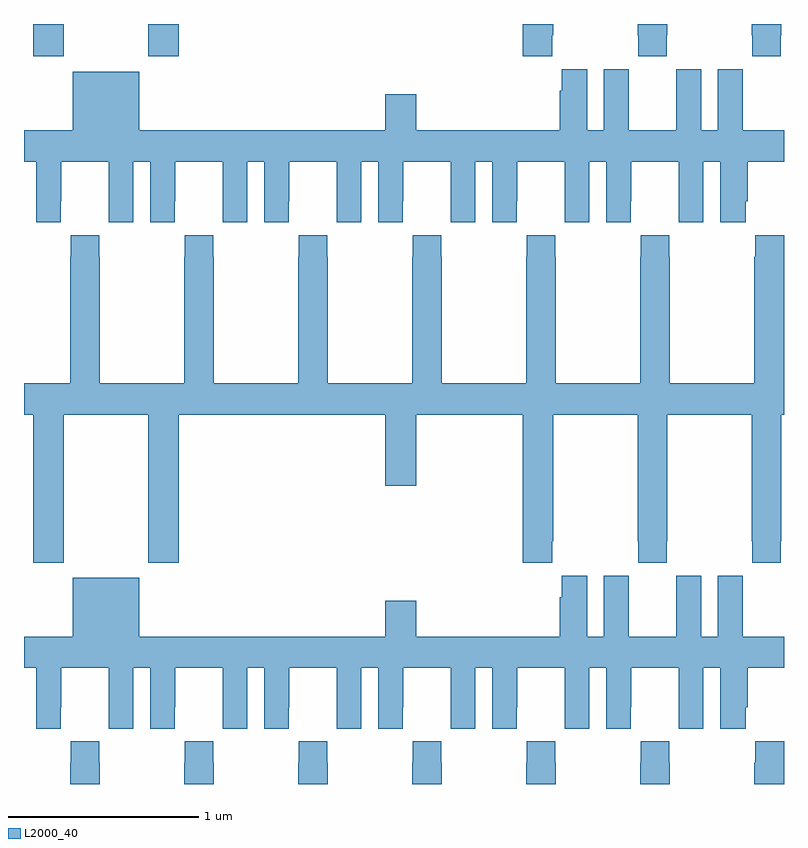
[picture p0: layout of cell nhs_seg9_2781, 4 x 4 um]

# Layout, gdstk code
import gdstk
lib = gdstk.Library(unit=1e-6, precision=1e-09)
def R(c, l, rs):  # rectangles x0, y0, x1, y1
    for r in rs: c.add(gdstk.rectangle(r[:2], r[2:], *l))
def P(c, l, *ps):  # polygons
    for p in ps: c.add(gdstk.Polygon(p, *l))
L2000_40 = (2000, 40)

nhs_seg9_2781 = lib.new_cell('nhs_seg9_2781')
R(nhs_seg9_2781, L2000_40, [(271.049,1174.329,271.209,1174.5), (271.654,1174.329,271.814,1174.5)])
P(nhs_seg9_2781, L2000_40, [(273.779,1174.441),(273.786,1174.441),(273.786,1174.5),(273.626,1174.5),(273.626,1174.329),(273.779,1174.329)],
  [(274.383,1174.441),(274.386,1174.441),(274.386,1174.5),(274.231,1174.5),(274.231,1174.441),(274.233,1174.441),(274.233,1174.329),(274.383,1174.329)],
  [(274.983,1174.441),(274.986,1174.441),(274.986,1174.5),(274.831,1174.5),(274.831,1174.441),(274.833,1174.441),(274.833,1174.329),(274.983,1174.329)],
  [(271,1173.776),(271.064,1173.776),(271.064,1173.456),(271.194,1173.456),(271.194,1173.568),(271.195,1173.568),(271.195,1173.776),(271.445,1173.776),(271.445,1173.568),(271.446,1173.568),(271.446,1173.456),(271.576,1173.456),(271.576,1173.776),(271.664,1173.776),(271.664,1173.456),(271.794,1173.456),(271.794,1173.568),(271.795,1173.568),(271.795,1173.776),(272.045,1173.776),(272.045,1173.568),(272.046,1173.568),(272.046,1173.456),(272.176,1173.456),(272.176,1173.776),(272.264,1173.776),(272.264,1173.456),(272.394,1173.456),(272.394,1173.568),(272.395,1173.568),(272.395,1173.776),(272.645,1173.776),(272.645,1173.568),(272.646,1173.568),(272.646,1173.456),(272.776,1173.456),(272.776,1173.776),(272.864,1173.776),(272.864,1173.456),(272.994,1173.456),(272.994,1173.568),(272.995,1173.568),(272.995,1173.776),(273.245,1173.776),(273.245,1173.568),(273.246,1173.568),(273.246,1173.456),(273.376,1173.456),(273.376,1173.776),(273.464,1173.776),(273.464,1173.456),(273.594,1173.456),(273.594,1173.568),(273.595,1173.568),(273.595,1173.776),(273.845,1173.776),(273.845,1173.568),(273.846,1173.568),(273.846,1173.456),(273.976,1173.456),(273.976,1173.776),(274.064,1173.776),(274.064,1173.456),(274.194,1173.456),(274.194,1173.568),(274.195,1173.568),(274.195,1173.776),(274.445,1173.776),(274.445,1173.568),(274.446,1173.568),(274.446,1173.456),(274.576,1173.456),(274.576,1173.776),(274.664,1173.776),(274.664,1173.456),(274.798,1173.456),(274.798,1173.568),(274.808,1173.568),(274.808,1173.776),(275,1173.776),(275,1173.94),(274.783,1173.94),(274.783,1174.148),(274.782,1174.148),(274.782,1174.261),(274.652,1174.261),(274.652,1173.94),(274.564,1173.94),(274.564,1174.261),(274.434,1174.261),(274.434,1174.148),(274.433,1174.148),(274.433,1173.94),(274.183,1173.94),(274.183,1174.148),(274.182,1174.148),(274.182,1174.261),(274.052,1174.261),(274.052,1173.94),(273.964,1173.94),(273.964,1174.261),(273.83,1174.261),(273.83,1174.148),(273.821,1174.148),(273.821,1173.94),(273.064,1173.94),(273.064,1174.129),(272.9,1174.129),(272.9,1173.94),(271.606,1173.94),(271.606,1174.249),(271.256,1174.249),(271.256,1173.94),(271,1173.94)],
  [(274.831,1171.777),(274.833,1171.777),(274.833,1171.665),(274.983,1171.665),(274.983,1171.777),(274.986,1171.777),(274.986,1172.444),(275,1172.444),(275,1173.388),(274.849,1173.388),(274.849,1173.275),(274.843,1173.275),(274.843,1172.608),(274.398,1172.608),(274.398,1173.275),(274.395,1173.275),(274.395,1173.388),(274.245,1173.388),(274.245,1173.275),(274.243,1173.275),(274.243,1172.608),(273.798,1172.608),(273.798,1173.275),(273.795,1173.275),(273.795,1173.388),(273.645,1173.388),(273.645,1173.275),(273.643,1173.275),(273.643,1172.608),(273.198,1172.608),(273.198,1173.275),(273.195,1173.275),(273.195,1173.388),(273.045,1173.388),(273.045,1173.275),(273.043,1173.275),(273.043,1172.608),(272.598,1172.608),(272.598,1173.275),(272.595,1173.275),(272.595,1173.388),(272.445,1173.388),(272.445,1173.275),(272.443,1173.275),(272.443,1172.608),(271.998,1172.608),(271.998,1173.275),(271.995,1173.275),(271.995,1173.388),(271.845,1173.388),(271.845,1173.275),(271.843,1173.275),(271.843,1172.608),(271.398,1172.608),(271.398,1173.275),(271.395,1173.275),(271.395,1173.388),(271.245,1173.388),(271.245,1173.275),(271.243,1173.275),(271.243,1172.608),(271,1172.608),(271,1172.444),(271.049,1172.444),(271.049,1171.665),(271.209,1171.665),(271.209,1172.444),(271.654,1172.444),(271.654,1171.665),(271.814,1171.665),(271.814,1172.444),(272.9,1172.444),(272.9,1172.07),(273.064,1172.07),(273.064,1172.444),(273.626,1172.444),(273.626,1171.665),(273.779,1171.665),(273.779,1171.777),(273.786,1171.777),(273.786,1172.444),(274.231,1172.444),(274.231,1171.777),(274.233,1171.777),(274.233,1171.665),(274.383,1171.665),(274.383,1171.777),(274.386,1171.777),(274.386,1172.444),(274.831,1172.444)],
  [(274.052,1171.597),(274.052,1171.276),(273.964,1171.276),(273.964,1171.597),(273.83,1171.597),(273.83,1171.484),(273.821,1171.484),(273.821,1171.276),(273.064,1171.276),(273.064,1171.465),(272.9,1171.465),(272.9,1171.276),(271.606,1171.276),(271.606,1171.585),(271.256,1171.585),(271.256,1171.276),(271,1171.276),(271,1171.112),(271.064,1171.112),(271.064,1170.792),(271.194,1170.792),(271.194,1170.904),(271.195,1170.904),(271.195,1171.112),(271.445,1171.112),(271.445,1170.904),(271.446,1170.904),(271.446,1170.792),(271.576,1170.792),(271.576,1171.112),(271.664,1171.112),(271.664,1170.792),(271.794,1170.792),(271.794,1170.904),(271.795,1170.904),(271.795,1171.112),(272.045,1171.112),(272.045,1170.904),(272.046,1170.904),(272.046,1170.792),(272.176,1170.792),(272.176,1171.112),(272.264,1171.112),(272.264,1170.792),(272.394,1170.792),(272.394,1170.904),(272.395,1170.904),(272.395,1171.112),(272.645,1171.112),(272.645,1170.904),(272.646,1170.904),(272.646,1170.792),(272.776,1170.792),(272.776,1171.112),(272.864,1171.112),(272.864,1170.792),(272.994,1170.792),(272.994,1170.904),(272.995,1170.904),(272.995,1171.112),(273.245,1171.112),(273.245,1170.904),(273.246,1170.904),(273.246,1170.792),(273.376,1170.792),(273.376,1171.112),(273.464,1171.112),(273.464,1170.792),(273.594,1170.792),(273.594,1170.904),(273.595,1170.904),(273.595,1171.112),(273.845,1171.112),(273.845,1170.904),(273.846,1170.904),(273.846,1170.792),(273.976,1170.792),(273.976,1171.112),(274.064,1171.112),(274.064,1170.792),(274.194,1170.792),(274.194,1170.904),(274.195,1170.904),(274.195,1171.112),(274.445,1171.112),(274.445,1170.904),(274.446,1170.904),(274.446,1170.792),(274.576,1170.792),(274.576,1171.112),(274.664,1171.112),(274.664,1170.792),(274.798,1170.792),(274.798,1170.904),(274.808,1170.904),(274.808,1171.112),(275,1171.112),(275,1171.276),(274.783,1171.276),(274.783,1171.484),(274.782,1171.484),(274.782,1171.597),(274.652,1171.597),(274.652,1171.276),(274.564,1171.276),(274.564,1171.597),(274.434,1171.597),(274.434,1171.484),(274.433,1171.484),(274.433,1171.276),(274.183,1171.276),(274.183,1171.484),(274.182,1171.484),(274.182,1171.597)],
  [(271.398,1170.611),(271.395,1170.611),(271.395,1170.724),(271.245,1170.724),(271.245,1170.611),(271.243,1170.611),(271.243,1170.5),(271.398,1170.5)],
  [(271.998,1170.611),(271.995,1170.611),(271.995,1170.724),(271.845,1170.724),(271.845,1170.611),(271.843,1170.611),(271.843,1170.5),(271.998,1170.5)],
  [(272.598,1170.611),(272.595,1170.611),(272.595,1170.724),(272.445,1170.724),(272.445,1170.611),(272.443,1170.611),(272.443,1170.5),(272.598,1170.5)],
  [(273.198,1170.611),(273.195,1170.611),(273.195,1170.724),(273.045,1170.724),(273.045,1170.611),(273.043,1170.611),(273.043,1170.5),(273.198,1170.5)],
  [(273.798,1170.611),(273.795,1170.611),(273.795,1170.724),(273.645,1170.724),(273.645,1170.611),(273.643,1170.611),(273.643,1170.5),(273.798,1170.5)],
  [(274.398,1170.611),(274.395,1170.611),(274.395,1170.724),(274.245,1170.724),(274.245,1170.611),(274.243,1170.611),(274.243,1170.5),(274.398,1170.5)],
  [(275,1170.724),(274.849,1170.724),(274.849,1170.611),(274.843,1170.611),(274.843,1170.5),(275,1170.5)])

lib.write_gds('nhs_seg9_2781.gds')
